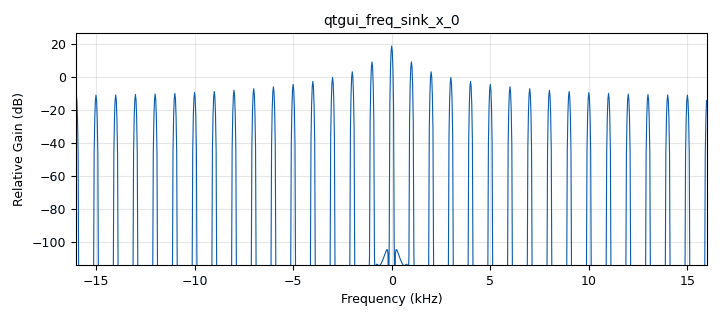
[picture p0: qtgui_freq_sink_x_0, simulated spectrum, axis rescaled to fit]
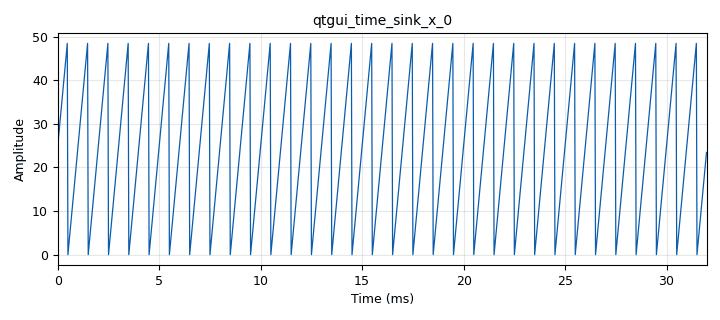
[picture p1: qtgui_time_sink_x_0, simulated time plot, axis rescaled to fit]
options:
  parameters:
    author: labcom
    generate_options: qt_gui
    id: lab1_1
    output_language: python
    title: Not titled yet
  states: {}

blocks:
- name: A
  id: variable_qtgui_range
  parameters:
    label: AMPLITUD
    start: '0'
    step: '1'
    stop: '100'
    value: '50'
  states: {}
- name: samp_rate
  id: variable
  parameters:
    value: '32000'
  states: {}
- name: CalculoPotenciaComunicaciones_0
  id: CalculoPotenciaComunicaciones
  parameters:
    I_vect: '1024'
  states: {}
- name: analog_sig_source_x_0
  id: analog_sig_source_x
  parameters:
    amp: A
    freq: '1000'
    offset: '0'
    phase: '0'
    samp_rate: samp_rate
    type: float
    waveform: analog.GR_SAW_WAVE
  states: {}
- name: qtgui_freq_sink_x_0
  id: qtgui_freq_sink_x
  parameters:
    bw: samp_rate
    fc: '0'
    fftsize: '1024'
    type: float
  states: {}
- name: qtgui_time_sink_x_0
  id: qtgui_time_sink_x
  parameters:
    size: '1024'
    srate: samp_rate
    type: float
  states: {}

connections:
- [analog_sig_source_x_0, '0', CalculoPotenciaComunicaciones_0, '0']
- [analog_sig_source_x_0, '0', qtgui_freq_sink_x_0, '0']
- [analog_sig_source_x_0, '0', qtgui_time_sink_x_0, '0']

metadata:
  file_format: 1
  grc_version: 3.10.5.1
